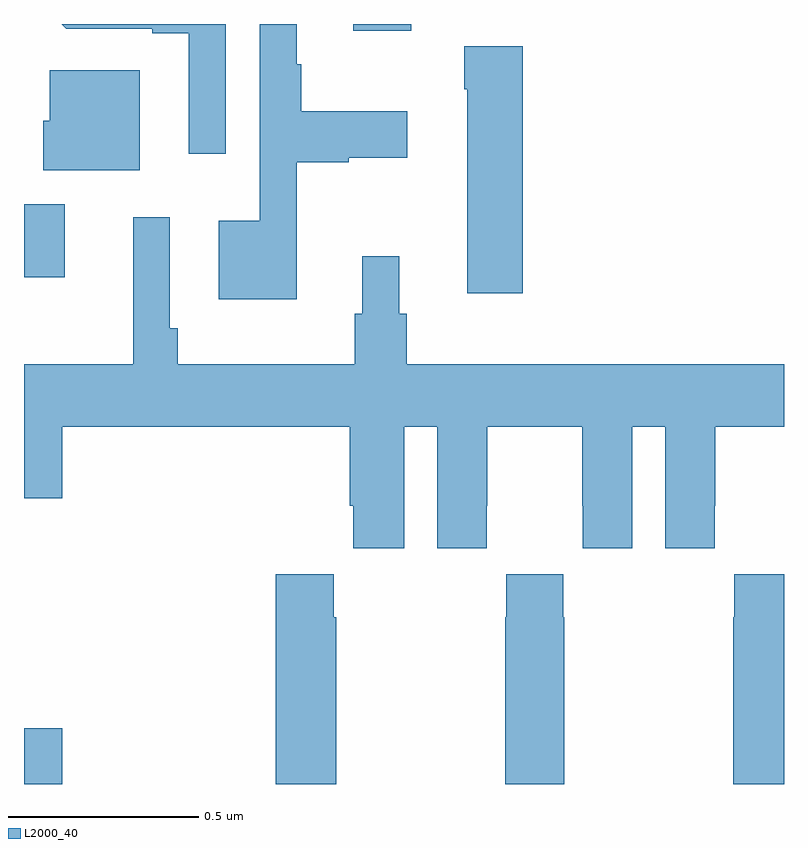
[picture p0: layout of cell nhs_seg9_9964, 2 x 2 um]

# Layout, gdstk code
import gdstk
lib = gdstk.Library(unit=1e-6, precision=1e-09)
def R(c, l, rs):  # rectangles x0, y0, x1, y1
    for r in rs: c.add(gdstk.rectangle(r[:2], r[2:], *l))
def P(c, l, *ps):  # polygons
    for p in ps: c.add(gdstk.Polygon(p, *l))
L2000_40 = (2000, 40)

nhs_seg9_9964 = lib.new_cell('nhs_seg9_9964')
R(nhs_seg9_9964, L2000_40, [(237,1175.5,237.1,1175.647), (237,1176.834,237.107,1177.026), (237.866,1177.482,238.019,1177.5)])
P(nhs_seg9_9964, L2000_40, [(237.718,1177.136),(237.855,1177.136),(237.855,1177.148),(238.009,1177.148),(238.009,1177.27),(237.73,1177.27),(237.73,1177.394),(237.718,1177.394),(237.718,1177.5),(237.621,1177.5),(237.621,1176.982),(237.512,1176.982),(237.512,1176.776),(237.718,1176.776)],
  [(237.531,1177.5),(237.099,1177.5),(237.111,1177.488),(237.338,1177.488),(237.338,1177.476),(237.434,1177.476),(237.434,1177.158),(237.531,1177.158)],
  [(238.313,1177.441),(238.159,1177.441),(238.159,1177.328),(238.166,1177.328),(238.166,1176.792),(238.313,1176.792)],
  [(237.304,1177.378),(237.068,1177.378),(237.068,1177.245),(237.05,1177.245),(237.05,1177.115),(237.304,1177.115)],
  [(238,1176.44),(238.088,1176.44),(238.088,1176.12),(238.218,1176.12),(238.218,1176.232),(238.219,1176.232),(238.219,1176.44),(238.469,1176.44),(238.469,1176.232),(238.47,1176.232),(238.47,1176.12),(238.6,1176.12),(238.6,1176.44),(238.688,1176.44),(238.688,1176.12),(238.818,1176.12),(238.818,1176.232),(238.819,1176.232),(238.819,1176.44),(239,1176.44),(239,1176.604),(238.007,1176.604),(238.007,1176.738),(237.988,1176.738),(237.988,1176.889),(237.89,1176.889),(237.89,1176.738),(237.871,1176.738),(237.871,1176.604),(237.404,1176.604),(237.404,1176.7),(237.384,1176.7),(237.384,1176.991),(237.287,1176.991),(237.287,1176.604),(237,1176.604),(237,1176.252),(237.1,1176.252),(237.1,1176.44),(237.857,1176.44),(237.857,1176.232),(237.866,1176.232),(237.866,1176.12),(238,1176.12)],
  [(237.822,1175.939),(237.815,1175.939),(237.815,1176.052),(237.662,1176.052),(237.662,1175.5),(237.822,1175.5)],
  [(238.422,1175.939),(238.419,1175.939),(238.419,1176.052),(238.269,1176.052),(238.269,1175.939),(238.267,1175.939),(238.267,1175.5),(238.422,1175.5)],
  [(239,1176.052),(238.869,1176.052),(238.869,1175.939),(238.867,1175.939),(238.867,1175.5),(239,1175.5)])

lib.write_gds('nhs_seg9_9964.gds')
